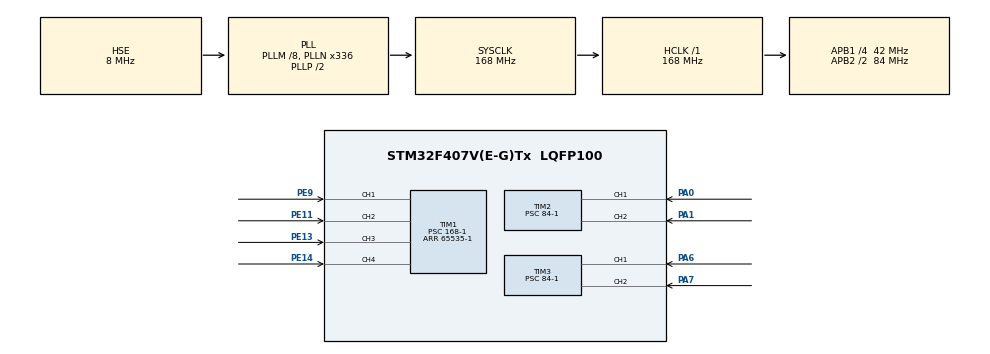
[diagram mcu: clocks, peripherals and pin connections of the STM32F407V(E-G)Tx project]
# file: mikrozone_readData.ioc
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Mcu.Family=STM32F4
Mcu.Name=STM32F407V(E-G)Tx
Mcu.Package=LQFP100
NVIC.PriorityGroup=NVIC_PRIORITYGROUP_0
NVIC.TIM1_CC_IRQn=true\:0\:0\:false\:false\:true\:true\:true\:true
NVIC.TIM2_IRQn=true\:0\:0\:false\:false\:true\:true\:true\:true
NVIC.TIM3_IRQn=true\:0\:0\:false\:false\:true\:true\:true\:true
PA0-WKUP.Signal=S_TIM2_CH1_ETR
PA1.Signal=S_TIM2_CH2
PA13.Mode=Serial_Wire
PA13.Signal=SYS_JTMS-SWDIO
PA14.Mode=Serial_Wire
PA14.Signal=SYS_JTCK-SWCLK
PA6.Signal=S_TIM3_CH1
PA7.Signal=S_TIM3_CH2
PE11.Signal=S_TIM1_CH2
PE13.Signal=S_TIM1_CH3
PE14.Signal=S_TIM1_CH4
PE9.Signal=S_TIM1_CH1
PH0-OSC_IN.Mode=HSE-External-Oscillator
PH0-OSC_IN.Signal=RCC_OSC_IN
PH1-OSC_OUT.Mode=HSE-External-Oscillator
PH1-OSC_OUT.Signal=RCC_OSC_OUT
ProjectManager.HeapSize=0x200
ProjectManager.StackSize=0x400
ProjectManager.TargetToolchain=STM32CubeIDE
RCC.48MHZClocksFreq_Value=48000000
RCC.AHBFreq_Value=168000000
RCC.APB1CLKDivider=RCC_HCLK_DIV4
RCC.APB1Freq_Value=42000000
RCC.APB1TimFreq_Value=84000000
RCC.APB2CLKDivider=RCC_HCLK_DIV2
RCC.APB2Freq_Value=84000000
RCC.APB2TimFreq_Value=168000000
RCC.CortexFreq_Value=168000000
RCC.HCLKFreq_Value=168000000
RCC.HSE_VALUE=8000000
RCC.HSI_VALUE=16000000
RCC.LSE_VALUE=32768
RCC.PLLM=8
RCC.PLLN=336
RCC.PLLQ=7
RCC.PLLSourceVirtual=RCC_PLLSOURCE_HSE
RCC.SYSCLKFreq_VALUE=168000000
RCC.SYSCLKSource=RCC_SYSCLKSOURCE_PLLCLK
RCC.VCOOutputFreq_Value=336000000
SH.S_TIM1_CH1.0=TIM1_CH1,Input_Capture1_from_TI1
SH.S_TIM1_CH2.0=TIM1_CH2,Input_Capture2_from_TI2
SH.S_TIM1_CH3.0=TIM1_CH3,Input_Capture3_from_TI3
SH.S_TIM1_CH4.0=TIM1_CH4,Input_Capture4_from_TI4
SH.S_TIM2_CH1_ETR.0=TIM2_CH1,Input_Capture1_from_TI1
SH.S_TIM2_CH2.0=TIM2_CH2,Input_Capture2_from_TI2
SH.S_TIM3_CH1.0=TIM3_CH1,Input_Capture1_from_TI1
SH.S_TIM3_CH2.0=TIM3_CH2,Input_Capture2_from_TI2
TIM1.Channel-Input_Capture1_from_TI1=TIM_CHANNEL_1
TIM1.Channel-Input_Capture2_from_TI2=TIM_CHANNEL_2
TIM1.Channel-Input_Capture3_from_TI3=TIM_CHANNEL_3
TIM1.Channel-Input_Capture4_from_TI4=TIM_CHANNEL_4
TIM1.ICPolarity_CH1=TIM_INPUTCHANNELPOLARITY_RISING
TIM1.ICPolarity_CH2=TIM_INPUTCHANNELPOLARITY_RISING
TIM1.ICPolarity_CH3=TIM_INPUTCHANNELPOLARITY_RISING
TIM1.ICPolarity_CH4=TIM_INPUTCHANNELPOLARITY_RISING
TIM1.Period=65535-1
TIM1.Prescaler=168-1
TIM2.Channel-Input_Capture1_from_TI1=TIM_CHANNEL_1
TIM2.Channel-Input_Capture2_from_TI2=TIM_CHANNEL_2
TIM2.Period=65535-1
TIM2.Prescaler=84-1
TIM3.Channel-Input_Capture1_from_TI1=TIM_CHANNEL_1
TIM3.Channel-Input_Capture2_from_TI2=TIM_CHANNEL_2
TIM3.Period=65535-1
TIM3.Prescaler=84-1
VP_TIM1_VS_ClockSourceINT.Mode=Internal
VP_TIM2_VS_ClockSourceINT.Mode=Internal
VP_TIM3_VS_ClockSourceINT.Mode=Internal
board=STM32F407G-DISC1

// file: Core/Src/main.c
/* USER CODE BEGIN Header */
/**
  ******************************************************************************
  * @file           : main.c
  * @brief          : Main program body
  ******************************************************************************
  * @attention
  *
  * Copyright (c) 2023 STMicroelectronics.
  * All rights reserved.
  *
  * This software is licensed under terms that can be found in the LICENSE file
  * in the root directory of this software component.
  * If no LICENSE file comes with this software, it is provided AS-IS.
  *
  ******************************************************************************
  */
/* USER CODE END Header */
#include "main.h"

TIM_HandleTypeDef htim1;
TIM_HandleTypeDef htim2;
TIM_HandleTypeDef htim3;

/* USER CODE BEGIN PV */
volatile uint32_t ch1_rising = 0, ch2_rising = 0, ch3_rising = 0, ch4_rising = 0, ch5_rising = 0, ch6_rising = 0;
volatile uint32_t ch1_falling = 0, ch2_falling = 0, ch3_falling = 0, ch4_falling = 0, ch5_falling = 0, ch6_falling = 0;
volatile uint32_t pre_ch1 = 0, ch1 = 0, pre_ch2 = 0, ch2 = 0, pre_ch3 = 0, ch3 = 0, pre_ch4 = 0, ch4 = 0, pre_ch5 = 0, ch5 = 0, pre_ch6 = 0, ch6 = 0;
/* USER CODE END PV */

void SystemClock_Config(void);
static void MX_GPIO_Init(void);
static void MX_TIM1_Init(void);
static void MX_TIM2_Init(void);
static void MX_TIM3_Init(void);
/* USER CODE BEGIN PFP */
void HAL_TIM_IC_CaptureCallback(TIM_HandleTypeDef *htim)
{
	if(htim->Instance == TIM1)  // interrupt TIM1 biriminden geliyorsa gir
	{
		switch(htim->Channel) // aktif kanal hamgisiyse, o kanalın case'ine git
		{
		case HAL_TIM_ACTIVE_CHANNEL_1:
			if((TIM1->CCER & TIM_CCER_CC1P)==0) // kanalin aktif olmasi kesmenin oradan gelecegi anlamina gelmez/gpio pinini kontrol et
			{
				ch1_rising = TIM1->CCR1; // yukselen kenar degerini kaydet
				TIM1->CCER |= TIM_CCER_CC1P; // polariteyi düsen kenar olarak degistir
			}

			else
			{
				ch1_falling = TIM1->CCR1;
				pre_ch1 = ch1_falling - ch1_rising; // dusen kenar degerini kaydet ve yukselen kenar degerinden cikar
				if(pre_ch1 < 0)pre_ch1 += 0xFFFF;// eger sonuc negatifse taban tumleme yap
				if(pre_ch1 < 2010 && pre_ch1 > 990)ch1=pre_ch1;
				TIM1->CCER &= ~TIM_CCER_CC1P; // polariteyi yukselen kenar olarak ayarla

				/*
				 * ch1_rising 65000
				 * ch1 falling 570
				 * pre_ch1 = pre_ch1 falling - pre_ch1_rising = 570 - 65000 = -64430
				 * pre_ch1 +=0xFFFF(65536) --> 1106
				 */
			}
			break;
		case HAL_TIM_ACTIVE_CHANNEL_2:
			if((TIM1->CCER & TIM_CCER_CC2P)==0)
			{
				ch2_rising = TIM1->CCR2;
				TIM1->CCER |= TIM_CCER_CC2P;
			}
			else
			{
				ch2_falling = TIM1->CCR2;
				pre_ch2 = ch2_falling - ch2_rising;
				if(pre_ch2 < 0)pre_ch2 += 0xFFFF;
				if(pre_ch2 < 2010 && pre_ch2 > 990)ch2=pre_ch2;
				TIM1->CCER &= ~TIM_CCER_CC2P;
			}
			break;
		case HAL_TIM_ACTIVE_CHANNEL_3:
			if((TIM1->CCER & TIM_CCER_CC3P)==0)
			{
				ch3_rising = TIM1->CCR3;
				TIM1->CCER |= TIM_CCER_CC3P;
			}
			else
			{
				ch3_falling = TIM1->CCR3;
				pre_ch3 = ch3_falling - ch3_rising;
				if(pre_ch3 < 0)pre_ch3 += 0xFFFF;
				if(pre_ch3 < 2010 && pre_ch3 > 990)ch3=pre_ch3;
				TIM1->CCER &= ~TIM_CCER_CC3P;
			}
			break;
		case HAL_TIM_ACTIVE_CHANNEL_4:
			if((TIM1->CCER & TIM_CCER_CC4P)==0)
			{
				ch4_rising = TIM1->CCR4;
				TIM1->CCER |= TIM_CCER_CC4P;
			}
			else
			{
				ch4_falling = TIM1->CCR4;
				pre_ch4 = ch4_falling - ch4_rising;
				if(pre_ch4 < 0)pre_ch4 += 0xFFFF;
				if(pre_ch4 < 2010 && pre_ch4 > 990)ch4=pre_ch4;
				TIM1->CCER &= ~TIM_CCER_CC4P;
			}
			break;
		default:
			break;
		}
	}
	else if(htim->Instance == TIM3) {
		switch(htim->Channel) // aktif kanal hamgisiyse, o kanalın case'ine git
		{
			case HAL_TIM_ACTIVE_CHANNEL_1:
				if((TIM3->CCER & TIM_CCER_CC1P)==0) // kanalin aktif olmasi kesmenin oradan gelecegi anlamina gelmez/gpio pinini kontrol et
				{
					ch5_rising = TIM3->CCR1; // yukselen kenar degerini kaydet
					TIM3->CCER |= TIM_CCER_CC1P; // polariteyi düsen kenar olarak degistir
				}

				else
				{
					ch5_falling = TIM3->CCR1;
					pre_ch5 = ch5_falling - ch5_rising; // dusen kenar degerini kaydet ve yukselen kenar degerinden cikar
					if(pre_ch5 < 0)pre_ch5 += 0xFFFF;// eger sonuc negatifse taban tumleme yap
					if(pre_ch5 < 2010 && pre_ch5 > 990)ch5=pre_ch5;
					TIM3->CCER &= ~TIM_CCER_CC1P; // polariteyi yukselen kenar olarak ayarla

					/*
					 * ch1_rising 65000
					 * ch1 falling 570
					 * pre_ch1 = pre_ch1 falling - pre_ch1_rising = 570 - 65000 = -64430
					 * pre_ch1 +=0xFFFF(65536) --> 1106
					 */
				}
				break;
			case HAL_TIM_ACTIVE_CHANNEL_2:
				if((TIM3->CCER & TIM_CCER_CC2P)==0)
				{
					ch6_rising = TIM3->CCR2;
					TIM3->CCER |= TIM_CCER_CC2P;
				}
				else
				{
					ch6_falling = TIM3->CCR2;
					pre_ch6 = ch6_falling - ch6_rising;
					if(pre_ch6 < 0)pre_ch6 += 0xFFFF;
					if(pre_ch6 < 2010 && pre_ch6 > 990)ch6=pre_ch6;
					TIM3->CCER &= ~TIM_CCER_CC2P;
				}
				break;
			default:
				break;
		}
	}
}
/*
#define TIMCLOCK   180000000
#define PRESCALAR  180
char channel_array[4]={TIM_CHANNEL_1,TIM_CHANNEL_2,TIM_CHANNEL_3,TIM_CHANNEL_4};

uint32_t IC_Val1[4]={0,0,0,0};
uint32_t IC_Val2[4]={0,0,0,0};
uint32_t Difference[4];
int Is_Captured[4]={0,0,0,0};

float frequency[4];
uint32_t usWidth[4];
void HAL_TIM_IC_CaptureCallback(TIM_HandleTypeDef *htim)
{
	if (htim->Channel == HAL_TIM_ACTIVE_CHANNEL_1) {
		if (Is_Captured[0]==0) // if the first rising edge is not captured
		{
			IC_Val1[0] = HAL_TIM_ReadCapturedValue(htim, TIM_CHANNEL_1); // read the first value

			Is_Captured[0] = 1;  // set the first captured as true
		}

		else   // If the first rising edge is captured, now we will capture the second edge
		{
			IC_Val2[0] = HAL_TIM_ReadCapturedValue(htim, TIM_CHANNEL_1);  // read second value

		    if (IC_Val2[0] > IC_Val1[0])
			{
		    	Difference[0] = IC_Val2[0]-IC_Val1[0];
			}

			else if (IC_Val1[0] > IC_Val2[0])
			{
				Difference[0] =IC_Val1[0]*(-1)-IC_Val2[0];
			}
			else{
				Difference[0] =0;
			}

			float refClock = TIMCLOCK/(PRESCALAR);
			float mFactor = 1000000/refClock;
			frequency[0] =(refClock/Difference[0]);
			usWidth[0] = Difference[0]*mFactor;
			__HAL_TIM_SET_COUNTER(htim, 0);  // reset the counter
			Is_Captured[0] = 0; // set it back to false
		}
	}

	if (htim->Channel == HAL_TIM_ACTIVE_CHANNEL_2) {
		if (Is_Captured[1]==0) // if the first rising edge is not captured
				{
					IC_Val1[1] = HAL_TIM_ReadCapturedValue(htim, TIM_CHANNEL_2); // read the first value
					Is_Captured[1] = 1;  // set the first captured as true
				}

		else   // If the first rising edge is captured, now we will capture the second edge
		{
			IC_Val2[1] = HAL_TIM_ReadCapturedValue(htim, TIM_CHANNEL_2);  // read second value

			if (IC_Val2[1] > IC_Val1[1])
			{
			Difference[1] = IC_Val2[1]-IC_Val1[1];
			}

			else if (IC_Val1[1] > IC_Val2[1])
			{
				Difference[1] =IC_Val1[1]*(-1)-IC_Val2[1];
			}
			else{
							Difference[1] =0;
						}
			float refClock = TIMCLOCK/(PRESCALAR);
			float mFactor = 1000000/refClock;
			frequency[1] =(refClock/Difference[1]);
			usWidth[1] = Difference[1]*mFactor;
			__HAL_TIM_SET_COUNTER(htim, 0);  // reset the counter
			Is_Captured[1] = 0; // set it back to false
		}
	}*/

//void HAL_TIM_IC_CaptureCallback(TIM_HandleTypeDef *htim)
//{
/*	for(int i=0; i<4; i++) {
		if (htim->Channel == HAL_TIM_ACTIVE_CHANNEL_1) {
			if(i<0)
				i=0;
			if (Is_Captured[i]==0) // if the first rising edge is not captured
			{
				IC_Val1[i] = HAL_TIM_ReadCapturedValue(htim,channel_array[i]); // read the first value
				Is_Captured[i] = 1;  // set the first captured as true
			}

			else   // If the first rising edge is captured, now we will capture the second edge
			{
				IC_Val2[i/4] = HAL_TIM_ReadCapturedValue(htim,channel_array[i]);  // read second value

				if (IC_Val2[i] > IC_Val1[i])
				{
					Difference[i] = IC_Val2[i]-IC_Val1[i];
				}

				else if (IC_Val1[i] > IC_Val2[i])
				{
					Difference[i] = (0xffffffff - IC_Val1[i]) + IC_Val2[i];
				}

				float refClock = TIMCLOCK/(PRESCALAR);
				float mFactor = 1000000/refClock;
				frequency[i] =(refClock/Difference[i]);
				usWidth[i] = Difference[i]*mFactor;
				__HAL_TIM_SET_COUNTER(htim, 0);  // reset the counter
				Is_Captured[i] = 0; // set it back to false
			}
		}
	}
*/
	/*if (htim->Channel == HAL_TIM_ACTIVE_CHANNEL_2) {

		if (Is_second_Captured==0) // if the first rising edge is not captured
				{
					IC_S_Val1 = HAL_TIM_ReadCapturedValue(htim, TIM_CHANNEL_2); // read the first value
					Is_second_Captured = 1;  // set the first captured as true
				}

		else   // If the first rising edge is captured, now we will capture the second edge
		{
			IC_S_Val2 = HAL_TIM_ReadCapturedValue(htim, TIM_CHANNEL_2);  // read second value

			if (IC_S_Val2 > IC_S_Val1)
			{
			Difference = IC_S_Val2-IC_S_Val1;
			}

			else if (IC_S_Val1 > IC_S_Val2)
			{
				Difference = (0xffffffff - IC_S_Val1) + IC_S_Val2;
			}

			float refClock = TIMCLOCK/(PRESCALAR);
			float mFactor = 1000000/refClock;
			frequency_2 =(refClock/Difference);
			usWidth_2 = Difference*mFactor;
			__HAL_TIM_SET_COUNTER(htim, 0);  // reset the counter
			Is_second_Captured = 0; // set it back to false
		}
	}
}*/

/* USER CODE END PFP */

int main(void)
{

  /* MCU Configuration--------------------------------------------------------*/

  /* Reset of all peripherals, Initializes the Flash interface and the Systick. */
  HAL_Init();

  /* Configure the system clock */
  SystemClock_Config();

  /* Initialize all configured peripherals */
  MX_GPIO_Init();
  MX_TIM1_Init();
  MX_TIM2_Init();
  MX_TIM3_Init();
  /* USER CODE BEGIN 2 */

  HAL_TIM_IC_Start_IT(&htim1, TIM_CHANNEL_1); // TIMX->DIER, CCXIE bitini aktif eder.
  HAL_TIM_IC_Start_IT(&htim1, TIM_CHANNEL_2);
  HAL_TIM_IC_Start_IT(&htim1, TIM_CHANNEL_3);
  HAL_TIM_IC_Start_IT(&htim1, TIM_CHANNEL_4);
  HAL_TIM_IC_Start_IT(&htim3, TIM_CHANNEL_1); // TIMX->DIER, CCXIE bitini aktif eder.
  HAL_TIM_IC_Start_IT(&htim3, TIM_CHANNEL_2);
  /* USER CODE END 2 */

  /* Infinite loop */
  while (1)
  {

  }
}

void SystemClock_Config(void)
{
  RCC_OscInitTypeDef RCC_OscInitStruct = {0};
  RCC_ClkInitTypeDef RCC_ClkInitStruct = {0};

  /** Configure the main internal regulator output voltage
  */
  __HAL_RCC_PWR_CLK_ENABLE();
  __HAL_PWR_VOLTAGESCALING_CONFIG(PWR_REGULATOR_VOLTAGE_SCALE1);

  /** Initializes the RCC Oscillators according to the specified parameters
  * in the RCC_OscInitTypeDef structure.
  */
  RCC_OscInitStruct.OscillatorType = RCC_OSCILLATORTYPE_HSE;
  RCC_OscInitStruct.HSEState = RCC_HSE_ON;
  RCC_OscInitStruct.PLL.PLLState = RCC_PLL_ON;
  RCC_OscInitStruct.PLL.PLLSource = RCC_PLLSOURCE_HSE;
  RCC_OscInitStruct.PLL.PLLM = 8;
  RCC_OscInitStruct.PLL.PLLN = 336;
  RCC_OscInitStruct.PLL.PLLP = RCC_PLLP_DIV2;
  RCC_OscInitStruct.PLL.PLLQ = 7;
  if (HAL_RCC_OscConfig(&RCC_OscInitStruct) != HAL_OK)
  {
    Error_Handler();
  }

  /** Initializes the CPU, AHB and APB buses clocks
  */
  RCC_ClkInitStruct.ClockType = RCC_CLOCKTYPE_HCLK|RCC_CLOCKTYPE_SYSCLK
                              |RCC_CLOCKTYPE_PCLK1|RCC_CLOCKTYPE_PCLK2;
  RCC_ClkInitStruct.SYSCLKSource = RCC_SYSCLKSOURCE_PLLCLK;
  RCC_ClkInitStruct.AHBCLKDivider = RCC_SYSCLK_DIV1;
  RCC_ClkInitStruct.APB1CLKDivider = RCC_HCLK_DIV4;
  RCC_ClkInitStruct.APB2CLKDivider = RCC_HCLK_DIV2;

  if (HAL_RCC_ClockConfig(&RCC_ClkInitStruct, FLASH_LATENCY_5) != HAL_OK)
  {
    Error_Handler();
  }
}

static void MX_TIM1_Init(void)
{

  TIM_ClockConfigTypeDef sClockSourceConfig = {0};
  TIM_MasterConfigTypeDef sMasterConfig = {0};
  TIM_IC_InitTypeDef sConfigIC = {0};

  htim1.Instance = TIM1;
  htim1.Init.Prescaler = 168-1;
  htim1.Init.CounterMode = TIM_COUNTERMODE_UP;
  htim1.Init.Period = 65535-1;
  htim1.Init.ClockDivision = TIM_CLOCKDIVISION_DIV1;
  htim1.Init.RepetitionCounter = 0;
  htim1.Init.AutoReloadPreload = TIM_AUTORELOAD_PRELOAD_DISABLE;
  if (HAL_TIM_Base_Init(&htim1) != HAL_OK)
  {
    Error_Handler();
  }
  sClockSourceConfig.ClockSource = TIM_CLOCKSOURCE_INTERNAL;
  if (HAL_TIM_ConfigClockSource(&htim1, &sClockSourceConfig) != HAL_OK)
  {
    Error_Handler();
  }
  if (HAL_TIM_IC_Init(&htim1) != HAL_OK)
  {
    Error_Handler();
  }
  sMasterConfig.MasterOutputTrigger = TIM_TRGO_RESET;
  sMasterConfig.MasterSlaveMode = TIM_MASTERSLAVEMODE_DISABLE;
  if (HAL_TIMEx_MasterConfigSynchronization(&htim1, &sMasterConfig) != HAL_OK)
  {
    Error_Handler();
  }
  sConfigIC.ICPolarity = TIM_INPUTCHANNELPOLARITY_RISING;
  sConfigIC.ICSelection = TIM_ICSELECTION_DIRECTTI;
  sConfigIC.ICPrescaler = TIM_ICPSC_DIV1;
  sConfigIC.ICFilter = 0;
  if (HAL_TIM_IC_ConfigChannel(&htim1, &sConfigIC, TIM_CHANNEL_1) != HAL_OK)
  {
    Error_Handler();
  }
  if (HAL_TIM_IC_ConfigChannel(&htim1, &sConfigIC, TIM_CHANNEL_2) != HAL_OK)
  {
    Error_Handler();
  }
  if (HAL_TIM_IC_ConfigChannel(&htim1, &sConfigIC, TIM_CHANNEL_3) != HAL_OK)
  {
    Error_Handler();
  }
  if (HAL_TIM_IC_ConfigChannel(&htim1, &sConfigIC, TIM_CHANNEL_4) != HAL_OK)
  {
    Error_Handler();
  }

}

static void MX_TIM2_Init(void)
{

  TIM_ClockConfigTypeDef sClockSourceConfig = {0};
  TIM_MasterConfigTypeDef sMasterConfig = {0};
  TIM_IC_InitTypeDef sConfigIC = {0};

  htim2.Instance = TIM2;
  htim2.Init.Prescaler = 84-1;
  htim2.Init.CounterMode = TIM_COUNTERMODE_UP;
  htim2.Init.Period = 65535-1;
  htim2.Init.ClockDivision = TIM_CLOCKDIVISION_DIV1;
  htim2.Init.AutoReloadPreload = TIM_AUTORELOAD_PRELOAD_DISABLE;
  if (HAL_TIM_Base_Init(&htim2) != HAL_OK)
  {
    Error_Handler();
  }
  sClockSourceConfig.ClockSource = TIM_CLOCKSOURCE_INTERNAL;
  if (HAL_TIM_ConfigClockSource(&htim2, &sClockSourceConfig) != HAL_OK)
  {
    Error_Handler();
  }
  if (HAL_TIM_IC_Init(&htim2) != HAL_OK)
  {
    Error_Handler();
  }
  sMasterConfig.MasterOutputTrigger = TIM_TRGO_RESET;
  sMasterConfig.MasterSlaveMode = TIM_MASTERSLAVEMODE_DISABLE;
  if (HAL_TIMEx_MasterConfigSynchronization(&htim2, &sMasterConfig) != HAL_OK)
  {
    Error_Handler();
  }
  sConfigIC.ICPolarity = TIM_INPUTCHANNELPOLARITY_RISING;
  sConfigIC.ICSelection = TIM_ICSELECTION_DIRECTTI;
  sConfigIC.ICPrescaler = TIM_ICPSC_DIV1;
  sConfigIC.ICFilter = 0;
  if (HAL_TIM_IC_ConfigChannel(&htim2, &sConfigIC, TIM_CHANNEL_1) != HAL_OK)
  {
    Error_Handler();
  }
  if (HAL_TIM_IC_ConfigChannel(&htim2, &sConfigIC, TIM_CHANNEL_2) != HAL_OK)
  {
    Error_Handler();
  }

}

static void MX_TIM3_Init(void)
{

  TIM_ClockConfigTypeDef sClockSourceConfig = {0};
  TIM_MasterConfigTypeDef sMasterConfig = {0};
  TIM_IC_InitTypeDef sConfigIC = {0};

  htim3.Instance = TIM3;
  htim3.Init.Prescaler = 84-1;
  htim3.Init.CounterMode = TIM_COUNTERMODE_UP;
  htim3.Init.Period = 65535-1;
  htim3.Init.ClockDivision = TIM_CLOCKDIVISION_DIV1;
  htim3.Init.AutoReloadPreload = TIM_AUTORELOAD_PRELOAD_DISABLE;
  if (HAL_TIM_Base_Init(&htim3) != HAL_OK)
  {
    Error_Handler();
  }
  sClockSourceConfig.ClockSource = TIM_CLOCKSOURCE_INTERNAL;
  if (HAL_TIM_ConfigClockSource(&htim3, &sClockSourceConfig) != HAL_OK)
  {
    Error_Handler();
  }
  if (HAL_TIM_IC_Init(&htim3) != HAL_OK)
  {
    Error_Handler();
  }
  sMasterConfig.MasterOutputTrigger = TIM_TRGO_RESET;
  sMasterConfig.MasterSlaveMode = TIM_MASTERSLAVEMODE_DISABLE;
  if (HAL_TIMEx_MasterConfigSynchronization(&htim3, &sMasterConfig) != HAL_OK)
  {
    Error_Handler();
  }
  sConfigIC.ICPolarity = TIM_INPUTCHANNELPOLARITY_RISING;
  sConfigIC.ICSelection = TIM_ICSELECTION_DIRECTTI;
  sConfigIC.ICPrescaler = TIM_ICPSC_DIV1;
  sConfigIC.ICFilter = 0;
  if (HAL_TIM_IC_ConfigChannel(&htim3, &sConfigIC, TIM_CHANNEL_1) != HAL_OK)
  {
    Error_Handler();
  }
  if (HAL_TIM_IC_ConfigChannel(&htim3, &sConfigIC, TIM_CHANNEL_2) != HAL_OK)
  {
    Error_Handler();
  }

}

static void MX_GPIO_Init(void)
{

  /* GPIO Ports Clock Enable */
  __HAL_RCC_GPIOH_CLK_ENABLE();
  __HAL_RCC_GPIOA_CLK_ENABLE();
  __HAL_RCC_GPIOE_CLK_ENABLE();

}

void Error_Handler(void)
{
  __disable_irq();
  while (1)
  {
  }
}
